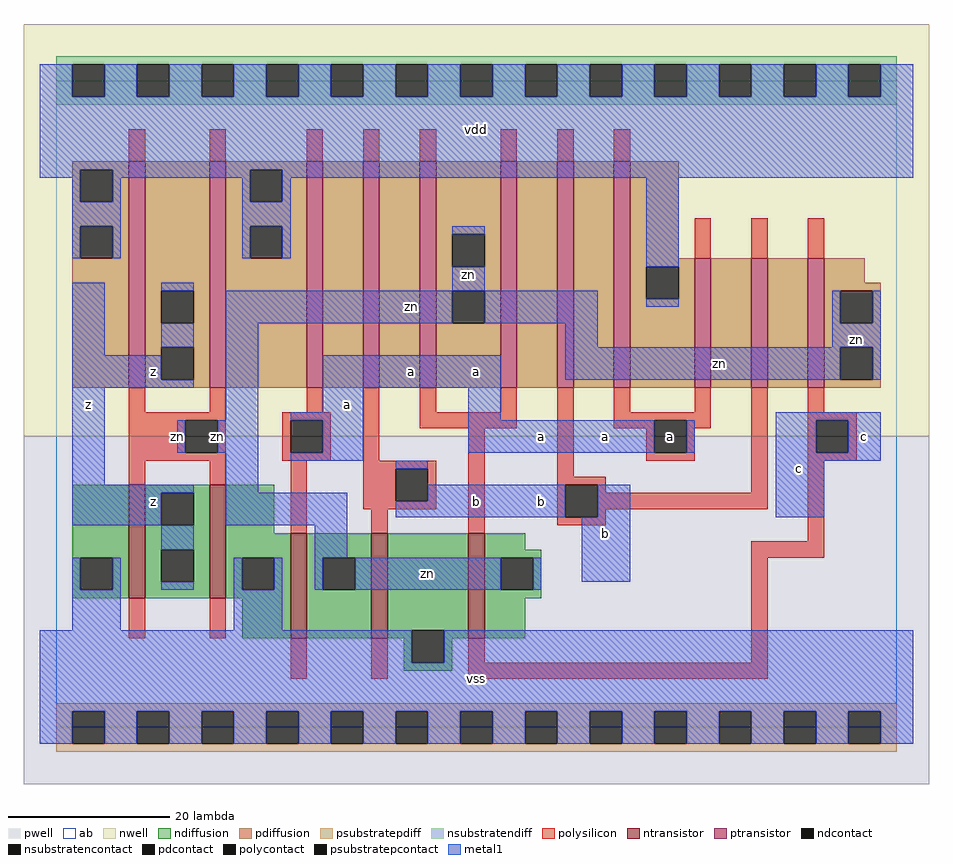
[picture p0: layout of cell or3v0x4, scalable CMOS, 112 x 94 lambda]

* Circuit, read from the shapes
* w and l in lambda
.subckt or3v0x4 a b c vdd vss z zn
M1 z zn vss vss nfet w=14 l=2 m=2
M2 zn a vss vss nfet w=13 l=2
M3 vss b zn vss nfet w=13 l=2
M4 zn c vss vss nfet w=13 l=2
M5 z zn vdd vdd pfet w=28 l=2 m=2
M6 n1 a vdd vdd pfet w=28 l=2
M7 n2 b n1 vdd pfet w=28 l=2
M8 zn c n2 vdd pfet w=28 l=2
M9 n3 c zn vdd pfet w=28 l=2
M10 n4 b n3 vdd pfet w=28 l=2
M11 vdd a n4 vdd pfet w=28 l=2
M12 n5 a vdd vdd pfet w=16 l=2
M13 n6 b n5 vdd pfet w=16 l=2
M14 zn c n6 vdd pfet w=16 l=2
.ends

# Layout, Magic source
magic
tech scmos
<< ab >>
rect 0 0 104 80
<< pwell >>
rect -4 -7 108 36
<< nwell >>
rect -4 36 108 87
<< polysilicon >>
rect 9 70 11 74
rect 19 70 21 74
rect 31 70 33 74
rect 38 70 40 74
rect 45 70 47 74
rect 55 70 57 74
rect 62 70 64 74
rect 69 70 71 74
rect 79 58 81 63
rect 86 58 88 63
rect 93 58 95 63
rect 9 39 11 42
rect 19 39 21 42
rect 31 39 33 42
rect 9 38 21 39
rect 9 34 16 38
rect 20 34 21 38
rect 9 33 21 34
rect 28 38 34 39
rect 28 34 29 38
rect 33 34 34 38
rect 28 33 34 34
rect 38 33 40 42
rect 45 39 47 42
rect 55 39 57 42
rect 45 37 57 39
rect 9 30 11 33
rect 19 30 21 33
rect 29 24 31 33
rect 38 32 47 33
rect 38 28 42 32
rect 46 28 47 32
rect 38 27 47 28
rect 39 24 41 27
rect 51 24 53 37
rect 62 31 64 42
rect 69 39 71 42
rect 79 39 81 42
rect 69 38 81 39
rect 69 37 74 38
rect 73 34 74 37
rect 78 37 81 38
rect 78 34 79 37
rect 73 33 79 34
rect 62 30 68 31
rect 62 26 63 30
rect 67 29 68 30
rect 86 29 88 42
rect 67 27 88 29
rect 93 39 95 42
rect 93 38 99 39
rect 93 34 94 38
rect 98 34 99 38
rect 93 33 99 34
rect 67 26 68 27
rect 62 25 68 26
rect 9 11 11 16
rect 19 11 21 16
rect 29 6 31 11
rect 39 6 41 11
rect 93 23 95 33
rect 86 21 95 23
rect 51 8 53 11
rect 86 8 88 21
rect 51 6 88 8
<< ndiffusion >>
rect 2 21 9 30
rect 2 17 3 21
rect 7 17 9 21
rect 2 16 9 17
rect 11 29 19 30
rect 11 25 13 29
rect 17 25 19 29
rect 11 22 19 25
rect 11 18 13 22
rect 17 18 19 22
rect 11 16 19 18
rect 21 24 27 30
rect 21 21 29 24
rect 21 17 23 21
rect 27 17 29 21
rect 21 16 29 17
rect 23 11 29 16
rect 31 21 39 24
rect 31 17 33 21
rect 37 17 39 21
rect 31 11 39 17
rect 41 12 51 24
rect 41 11 44 12
rect 43 8 44 11
rect 48 11 51 12
rect 53 22 58 24
rect 53 21 60 22
rect 53 17 55 21
rect 59 17 60 21
rect 53 16 60 17
rect 53 11 58 16
rect 48 8 49 11
rect 43 7 49 8
<< pdiffusion >>
rect 2 69 9 70
rect 2 65 3 69
rect 7 65 9 69
rect 2 62 9 65
rect 2 58 3 62
rect 7 58 9 62
rect 2 42 9 58
rect 11 54 19 70
rect 11 50 13 54
rect 17 50 19 54
rect 11 47 19 50
rect 11 43 13 47
rect 17 43 19 47
rect 11 42 19 43
rect 21 69 31 70
rect 21 65 24 69
rect 28 65 31 69
rect 21 62 31 65
rect 21 58 24 62
rect 28 58 31 62
rect 21 42 31 58
rect 33 42 38 70
rect 40 42 45 70
rect 47 61 55 70
rect 47 57 49 61
rect 53 57 55 61
rect 47 54 55 57
rect 47 50 49 54
rect 53 50 55 54
rect 47 42 55 50
rect 57 42 62 70
rect 64 42 69 70
rect 71 58 77 70
rect 71 57 79 58
rect 71 53 73 57
rect 77 53 79 57
rect 71 42 79 53
rect 81 42 86 58
rect 88 42 93 58
rect 95 55 100 58
rect 95 54 102 55
rect 95 50 97 54
rect 101 50 102 54
rect 95 47 102 50
rect 95 43 97 47
rect 101 43 102 47
rect 95 42 102 43
<< metal1 >>
rect -2 78 2 82
rect 6 78 10 82
rect 14 78 18 82
rect 22 78 26 82
rect 30 78 34 82
rect 38 78 42 82
rect 46 78 50 82
rect 54 78 58 82
rect 62 78 66 82
rect 70 78 74 82
rect 78 78 82 82
rect 86 78 90 82
rect 94 78 98 82
rect 102 78 106 82
rect -2 69 106 78
rect -2 68 3 69
rect 2 65 3 68
rect 7 68 24 69
rect 7 65 8 68
rect 2 62 8 65
rect 2 58 3 62
rect 7 58 8 62
rect 23 65 24 68
rect 28 68 106 69
rect 28 65 29 68
rect 23 62 29 65
rect 23 58 24 62
rect 28 58 29 62
rect 49 61 53 62
rect 2 46 6 55
rect 13 54 17 55
rect 49 54 53 57
rect 73 57 77 68
rect 13 47 17 50
rect 2 43 13 46
rect 2 42 17 43
rect 21 50 49 54
rect 53 50 67 54
rect 73 52 77 53
rect 2 30 6 42
rect 21 38 25 50
rect 63 47 67 50
rect 96 50 97 54
rect 101 50 102 54
rect 96 47 102 50
rect 33 42 55 46
rect 63 43 97 47
rect 101 43 102 47
rect 33 39 38 42
rect 15 34 16 38
rect 20 34 25 38
rect 2 29 17 30
rect 2 25 13 29
rect 21 29 25 34
rect 29 38 38 39
rect 33 34 38 38
rect 51 38 55 42
rect 89 38 102 39
rect 51 34 74 38
rect 78 34 79 38
rect 89 34 94 38
rect 98 34 102 38
rect 29 33 38 34
rect 89 33 102 34
rect 42 32 46 33
rect 21 25 36 29
rect 46 28 63 30
rect 42 26 63 28
rect 67 26 71 30
rect 89 26 95 33
rect 13 22 17 25
rect 2 17 3 21
rect 7 17 8 21
rect 32 21 36 25
rect 13 17 17 18
rect 22 17 23 21
rect 27 17 28 21
rect 32 17 33 21
rect 37 17 55 21
rect 59 17 60 21
rect 65 18 71 26
rect 2 12 8 17
rect 22 12 28 17
rect -2 8 44 12
rect 48 8 106 12
rect -2 2 106 8
rect -2 -2 2 2
rect 6 -2 10 2
rect 14 -2 18 2
rect 22 -2 26 2
rect 30 -2 34 2
rect 38 -2 42 2
rect 46 -2 50 2
rect 54 -2 58 2
rect 62 -2 66 2
rect 70 -2 74 2
rect 78 -2 82 2
rect 86 -2 90 2
rect 94 -2 98 2
rect 102 -2 106 2
<< ntransistor >>
rect 9 16 11 30
rect 19 16 21 30
rect 29 11 31 24
rect 39 11 41 24
rect 51 11 53 24
<< ptransistor >>
rect 9 42 11 70
rect 19 42 21 70
rect 31 42 33 70
rect 38 42 40 70
rect 45 42 47 70
rect 55 42 57 70
rect 62 42 64 70
rect 69 42 71 70
rect 79 42 81 58
rect 86 42 88 58
rect 93 42 95 58
<< polycontact >>
rect 16 34 20 38
rect 29 34 33 38
rect 42 28 46 32
rect 74 34 78 38
rect 63 26 67 30
rect 94 34 98 38
<< ndcontact >>
rect 3 17 7 21
rect 13 25 17 29
rect 13 18 17 22
rect 23 17 27 21
rect 33 17 37 21
rect 44 8 48 12
rect 55 17 59 21
<< pdcontact >>
rect 3 65 7 69
rect 3 58 7 62
rect 13 50 17 54
rect 13 43 17 47
rect 24 65 28 69
rect 24 58 28 62
rect 49 57 53 61
rect 49 50 53 54
rect 73 53 77 57
rect 97 50 101 54
rect 97 43 101 47
<< psubstratepcontact >>
rect 2 -2 6 2
rect 10 -2 14 2
rect 18 -2 22 2
rect 26 -2 30 2
rect 34 -2 38 2
rect 42 -2 46 2
rect 50 -2 54 2
rect 58 -2 62 2
rect 66 -2 70 2
rect 74 -2 78 2
rect 82 -2 86 2
rect 90 -2 94 2
rect 98 -2 102 2
<< nsubstratencontact >>
rect 2 78 6 82
rect 10 78 14 82
rect 18 78 22 82
rect 26 78 30 82
rect 34 78 38 82
rect 42 78 46 82
rect 50 78 54 82
rect 58 78 62 82
rect 66 78 70 82
rect 74 78 78 82
rect 82 78 86 82
rect 90 78 94 82
rect 98 78 102 82
<< psubstratepdiff >>
rect 0 2 104 3
rect 0 -2 2 2
rect 6 -2 10 2
rect 14 -2 18 2
rect 22 -2 26 2
rect 30 -2 34 2
rect 38 -2 42 2
rect 46 -2 50 2
rect 54 -2 58 2
rect 62 -2 66 2
rect 70 -2 74 2
rect 78 -2 82 2
rect 86 -2 90 2
rect 94 -2 98 2
rect 102 -2 104 2
rect 0 -3 104 -2
<< nsubstratendiff >>
rect 0 82 104 83
rect 0 78 2 82
rect 6 78 10 82
rect 14 78 18 82
rect 22 78 26 82
rect 30 78 34 82
rect 38 78 42 82
rect 46 78 50 82
rect 54 78 58 82
rect 62 78 66 82
rect 70 78 74 82
rect 78 78 82 82
rect 86 78 90 82
rect 94 78 98 82
rect 102 78 104 82
rect 0 77 104 78
<< labels >>
rlabel polysilicon 15 36 15 36 6 zn
rlabel metal1 12 28 12 28 6 z
rlabel metal1 4 40 4 40 6 z
rlabel metal1 12 44 12 44 6 z
rlabel metal1 20 36 20 36 6 zn
rlabel metal1 36 40 36 40 6 a
rlabel metal1 52 6 52 6 6 vss
rlabel metal1 46 19 46 19 6 zn
rlabel metal1 52 28 52 28 6 b
rlabel metal1 60 28 60 28 6 b
rlabel metal1 44 44 44 44 6 a
rlabel metal1 52 44 52 44 6 a
rlabel metal1 60 36 60 36 6 a
rlabel metal1 51 56 51 56 6 zn
rlabel metal1 52 74 52 74 6 vdd
rlabel metal1 68 24 68 24 6 b
rlabel metal1 68 36 68 36 6 a
rlabel polycontact 76 36 76 36 6 a
rlabel metal1 44 52 44 52 6 zn
rlabel metal1 92 32 92 32 6 c
rlabel metal1 82 45 82 45 6 zn
rlabel metal1 100 36 100 36 6 c
rlabel metal1 99 48 99 48 6 zn
<< end >>
